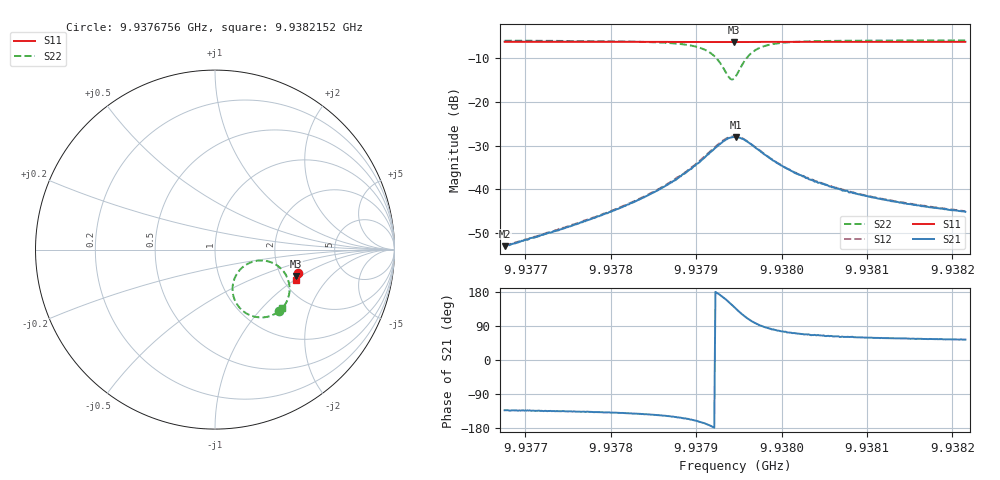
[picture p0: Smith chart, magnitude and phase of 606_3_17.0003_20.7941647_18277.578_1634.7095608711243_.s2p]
#  HZ  S  RI  R  50.00
! Rohde & Schwarz Vector Network Analyzer
! Rohde-Schwarz,ZNB20-2Port,1311601062101988,3.16
! Created: UTC 3/20/2024, 11:19:14 PM
! freq[Hz]  re:S11  im:S11  re:S21  im:S21  re:S12  im:S12  re:S22  im:S22
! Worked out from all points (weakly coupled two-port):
!   401 points, 9.9376756 GHz to 9.9382152 GHz, reference 50 ohm
!   highest |S21| = -28.05 dB at 9.9379467 GHz (marker M1); lowest = -52.9 dB at 9.9376756 GHz (marker M2)
!   lowest |S11| = -6.4 dB at 9.937944 GHz (marker M3), VSWR 2.82, Z = 120 - j46 ohm
!   |S11| at or under -10 dB: nowhere
!   |S22| runs from -14.9 to -6.1 dB; largest |S21 - S12| = 0.0018
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9.93767556e9  0.4633 -0.1329  -0.00154 -0.00167  -0.00156 -0.00163  0.3546 -0.3446
9.93776595e9  0.461 -0.1391  -0.00306 -0.0029  -0.00312 -0.00291  0.3363 -0.3566
9.93781722e9  0.4596 -0.1426  -0.005 -0.00417  -0.0052 -0.00413  0.3163 -0.3666
9.93785634e9  0.4583 -0.1453  -0.00826 -0.0056  -0.00848 -0.00561  0.2866 -0.3754
9.93788603e9  0.4569 -0.1476  -0.0136 -0.0065  -0.0139 -0.00653  0.2411 -0.3774
9.93791031e9  0.4554 -0.1493  -0.0227 -0.00501  -0.0235 -0.00467  0.1677 -0.3511
9.9379211e9  0.454 -0.1496  -0.029 -0.000786  -0.0298 6.31e-05  0.1239 -0.3065
9.93793055e9  0.453 -0.1493  -0.0337 0.00758  -0.0345 0.00882  0.0984 -0.2327
9.93793864e9  0.4526 -0.1486  -0.0341 0.018  -0.0342 0.0196  0.1146 -0.1487
9.93794134e9  0.4526 -0.1484  -0.0326 0.0218  -0.0325 0.0234  0.1315 -0.1216
9.93794404e9  0.4526 -0.1479  -0.0306 0.0251  -0.0302 0.0268  0.1537 -0.0984
9.93794539e9  0.4527 -0.1478  -0.0291 0.0265  -0.0288 0.0282  0.1664 -0.0886
9.93794674e9  0.4528 -0.1477  -0.0279 0.0281  -0.0273 0.0296  0.1801 -0.0802
9.93795348e9  0.4535 -0.1473  -0.0195 0.0323  -0.0186 0.0336  0.2526 -0.0604
9.93796023e9  0.4544 -0.1475  -0.0115 0.0328  -0.0105 0.0335  0.3157 -0.0717
9.93797372e9  0.4554 -0.1488  -0.00101 0.0278  -0.000443 0.0281  0.3871 -0.1285
9.93798721e9  0.4557 -0.1503  0.003 0.0222  0.0036 0.0221  0.4105 -0.1796
9.93800475e9  0.4554 -0.152  0.00464 0.0169  0.00521 0.0169  0.4156 -0.2238
9.93803578e9  0.4548 -0.1546  0.00519 0.0116  0.00546 0.0117  0.4086 -0.2665
9.9380776e9  0.4537 -0.1578  0.00458 0.00834  0.00485 0.00824  0.3974 -0.2941
9.93812617e9  0.4524 -0.161  0.00403 0.0063  0.00418 0.00626  0.3873 -0.3108
9.93821521e9  0.45 -0.167  0.00328 0.00449  0.0034 0.00453  0.3745 -0.3277
